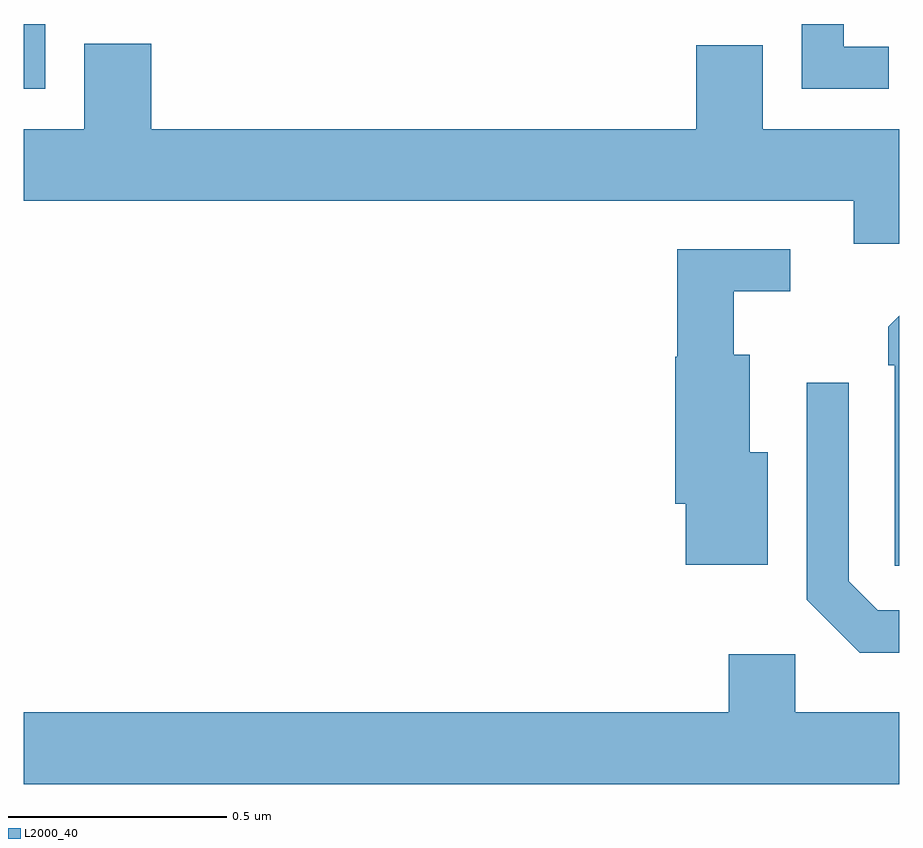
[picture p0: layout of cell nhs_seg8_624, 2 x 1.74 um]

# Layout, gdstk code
import gdstk
lib = gdstk.Library(unit=1e-6, precision=1e-09)
def R(c, l, rs):  # rectangles x0, y0, x1, y1
    for r in rs: c.add(gdstk.rectangle(r[:2], r[2:], *l))
def P(c, l, *ps):  # polygons
    for p in ps: c.add(gdstk.Polygon(p, *l))
L2000_40 = (2000, 40)

nhs_seg8_624 = lib.new_cell('nhs_seg8_624')
R(nhs_seg8_624, L2000_40, [(119,1120.752,119.049,1120.9)])
P(nhs_seg8_624, L2000_40, [(120.976,1120.848),(120.873,1120.848),(120.873,1120.9),(120.777,1120.9),(120.777,1120.752),(120.976,1120.752)],
  [(121,1120.66),(120.688,1120.66),(120.688,1120.852),(120.536,1120.852),(120.536,1120.66),(119.291,1120.66),(119.291,1120.855),(119.138,1120.855),(119.138,1120.66),(119,1120.66),(119,1120.496),(120.896,1120.496),(120.896,1120.398),(121,1120.398)],
  [(120.7,1119.922),(120.658,1119.922),(120.658,1120.144),(120.622,1120.144),(120.622,1120.289),(120.751,1120.289),(120.751,1120.386),(120.493,1120.386),(120.493,1120.14),(120.488,1120.14),(120.488,1119.804),(120.512,1119.804),(120.512,1119.665),(120.7,1119.665)],
  [(121,1120.234),(120.975,1120.209),(120.975,1120.121),(120.99,1120.121),(120.99,1119.663),(121,1119.663)],
  [(121,1119.561),(120.951,1119.561),(120.885,1119.627),(120.885,1120.081),(120.789,1120.081),(120.789,1119.585),(120.91,1119.464),(121,1119.464)],
  [(121,1119.328),(120.762,1119.328),(120.762,1119.46),(120.611,1119.46),(120.611,1119.328),(119,1119.328),(119,1119.164),(121,1119.164)])

lib.write_gds('nhs_seg8_624.gds')
